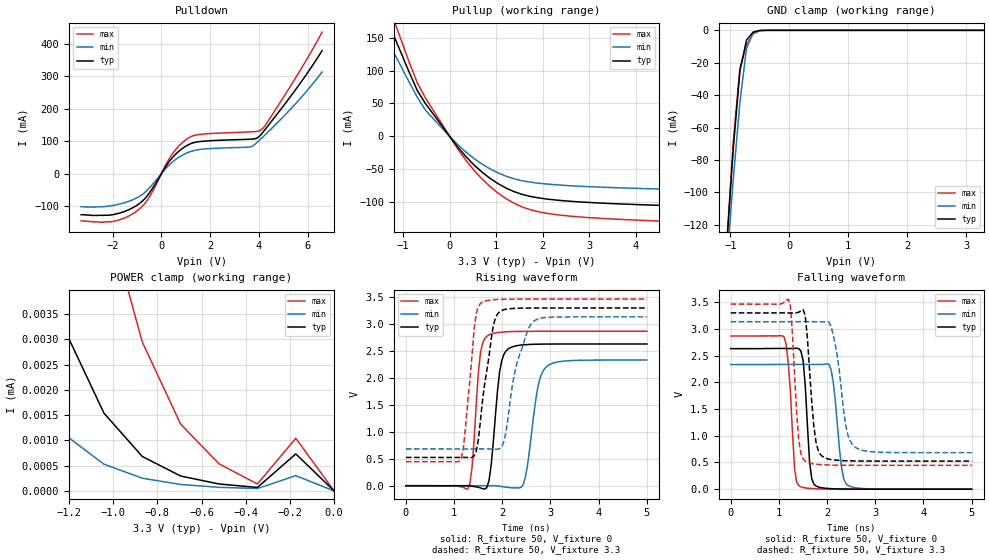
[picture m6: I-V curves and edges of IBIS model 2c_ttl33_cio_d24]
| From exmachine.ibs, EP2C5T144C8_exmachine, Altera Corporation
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[Model] 2c_ttl33_cio_d24
Model_type I/O
Vinl  = 0.8V
Vinh  = 1.7V
Vmeas = 1.5675V
Rref  = 1M
Cref  = 0pF
Vref  = 0V
C_comp  3.8pF   NA   NA
[Temperature Range] 25   85   0
[Voltage Range]   3.3   3.135   3.465
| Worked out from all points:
|   slope of the pulldown table from 0 to 0.495 V, typ, clamps not added: 9.34 ohm
|   slope of the pullup table from 0 to 0.495 V, typ, clamps not added: 12 ohm
|   GND clamp passes 1 mA (typ) near -0.61 V on its own axis
|   rising waveform, R_fixture 50, V_fixture 0: 20-80 % time 160ps typ, 212ps min, 135ps max; typ from 0 V to 2.63 V
|   falling waveform, R_fixture 50, V_fixture 0: 20-80 % time 104ps typ, 148ps min, 114ps max; typ from 2.63 V to 0 V
|   rising waveform, R_fixture 50, V_fixture 3.3: 20-80 % time 243ps typ, 337ps min, 179ps max; typ from 0.526 V to 3.3 V
|   falling waveform, R_fixture 50, V_fixture 3.3: 20-80 % time 142ps typ, 210ps min, 118ps max; typ from 3.3 V to 0.526 V
[GND Clamp]
| voltage   I (typ)   I (min)   I (max)
-3.3V     -1.525A    -1.347A    -1.631A
-1.063V   -132.4mA   -144.4mA   -131.8mA
-950.8mV  -72.91mA   -91.85mA   -68.52mA
-839mV    -25.14mA   -44.53mA   -23.44mA
-727.1mV  -6.162mA   -11.17mA   -9.106mA
-615.2mV  -1.09mA    -1.592mA   -2.362mA
-503.4mV  -85.58uA   -161.1uA   -206uA
-391.5mV  -4.442uA   -9.192uA   -8.484uA
3.3V      11.77nA    320.6nA    -115.2nA
[Pulldown]
| voltage   I (typ)   I (min)   I (max)
-3.3V     -127mA     -102mA     -146.2mA
-1.958V   -126.2mA   -97.81mA   -147.2mA
-950.8mV  -94.95mA   -72.37mA   -112.2mA
-503.4mV  -60.38mA   -44.84mA   -73.08mA
167.8mV   20.97mA    15.1mA     25.93mA
503.4mV   53.7mA     39.09mA    66.22mA
1.175V    91.6mA     67.68mA    112.8mA
3.647V    106.3mA    82.25mA    128.9mA
4.082V    120.1mA    106.9mA    134.6mA
4.342V    144.3mA    125.7mA    157.7mA
5.384V    246.4mA    205.6mA    280.3mA
6.6V      379.8mA    313.7mA    437.1mA
[POWER Clamp]
| voltage   I (typ)   I (min)   I (max)
-3.3V     85.54uA    53.92uA    123.2uA
-1.563V   9.368uA    3.908uA    20.91uA
-1.389V   5.742uA    2.169uA    14.78uA
-1.216V   3.156uA    1.104uA    9.69uA
-1.042V   1.541uA    529.8nA    5.722uA
-868.4mV  682.2nA    251.4nA    2.95uA
-694.7mV  294.7nA    128nA      1.321uA
-521.1mV  137.6nA    71.27nA    537nA
-347.4mV  68.34nA    47.27nA    137.6nA
-173.7mV  733.1nA    301.6nA    1.043uA
0V        0A         0A         0A
[Pullup]
| voltage   I (typ)   I (min)   I (max)
-3.3V     474.7mA    400.9mA    541.3mA
-1.563V   212.2mA    175.7mA    245.5mA
-1.389V   184.2mA    152.7mA    213.2mA
-1.216V   155.6mA    129.4mA    180.2mA
-1.042V   126.5mA    105.9mA    146.5mA
-694.7mV  69.65mA    59.37mA    81.4mA
-521.1mV  49.95mA    40.13mA    58.3mA
173.7mV   -16.1mA    -12.51mA   -19.02mA
868.4mV   -63.81mA   -49.36mA   -76.3mA
1.563V    -88.23mA   -67.51mA   -107.3mA
2.605V    -98.66mA   -75.03mA   -121.3mA
6.6V      -113mA     -86mA      -138.2mA
[Ramp]
dV/dt_r   1.579e+000/1.596e-010  1.400e+000/2.118e-010  1.720e+000/1.354e-010
dV/dt_f   1.665e+000/1.423e-010  1.471e+000/2.104e-010  1.811e+000/1.177e-010
R_load = 50ohms
[Rising Waveform]
R_fixture   = 50
V_fixture   = 0
V_fixture_min = 0
V_fixture_max = 0
| time   V (typ)   V (min)   V (max)
0s        0V         0V         0V
1.282ns   315.4uV    -182uV     -63.87mV
1.37ns    -7.424mV   -128.3uV   322.3mV
1.548ns   -40.84mV   -119.5uV   2.466V
1.725ns   95.52mV    273.2uV    2.801V
1.946ns   2.124V     -8.923mV   2.848V
2.123ns   2.54V      -31.37mV   2.859V
2.433ns   2.614V     23.24mV    2.865V
2.921ns   2.63V      2.214V     2.867V
5ns       2.631V     2.333V     2.867V
[Falling Waveform]
R_fixture   = 50
V_fixture   = 0
V_fixture_min = 0
V_fixture_max = 0
| time   V (typ)   V (min)   V (max)
0s        2.631V     2.333V     2.867V
1.104ns   2.634V     2.336V     2.855V
1.415ns   2.63V      2.336V     65.42mV
1.503ns   2.405V     2.336V     31.68mV
1.68ns    201.6mV    2.336V     11.66mV
1.769ns   60.14mV    2.336V     7.254mV
2.079ns   9.557mV    2.25V      1.363mV
2.301ns   3.034mV    402.5mV    384.1uV
2.433ns   1.506mV    70.93mV    171.6uV
5ns       -3.087uV   -14.37uV   -2.21uV
[Rising Waveform]
R_fixture   = 50
V_fixture   = 3.3
V_fixture_min = 3.135
V_fixture_max = 3.465
| time   V (typ)   V (min)   V (max)
0s        525.6mV    683.4mV    446.7mV
1.149ns   525.8mV    682.7mV    512.8mV
1.459ns   636.6mV    683.2mV    3.191V
1.592ns   1.597V     683.5mV    3.412V
1.813ns   2.967V     681mV      3.452V
1.902ns   3.189V     677.9mV    3.457V
2.035ns   3.268V     822mV      3.461V
2.301ns   3.294V     2.266V     3.464V
2.655ns   3.299V     3.055V     3.464V
5ns       3.3V       3.135V     3.465V
[Falling Waveform]
R_fixture   = 50
V_fixture   = 3.3
V_fixture_min = 3.135
V_fixture_max = 3.465
| time   V (typ)   V (min)   V (max)
0s        3.3V       3.135V     3.465V
1.193ns   3.299V     3.134V     3.559V
1.415ns   3.314V     3.135V     906mV
1.548ns   3.245V     3.135V     525.2mV
1.725ns   1.185V     3.135V     472.1mV
1.902ns   614.1mV    3.133V     457.2mV
2.123ns   549mV      2.903V     450.1mV
2.389ns   532.1mV    1.186V     447.6mV
2.567ns   528.3mV    797.8mV    447.1mV
5ns       525.6mV    683.4mV    446.7mV
